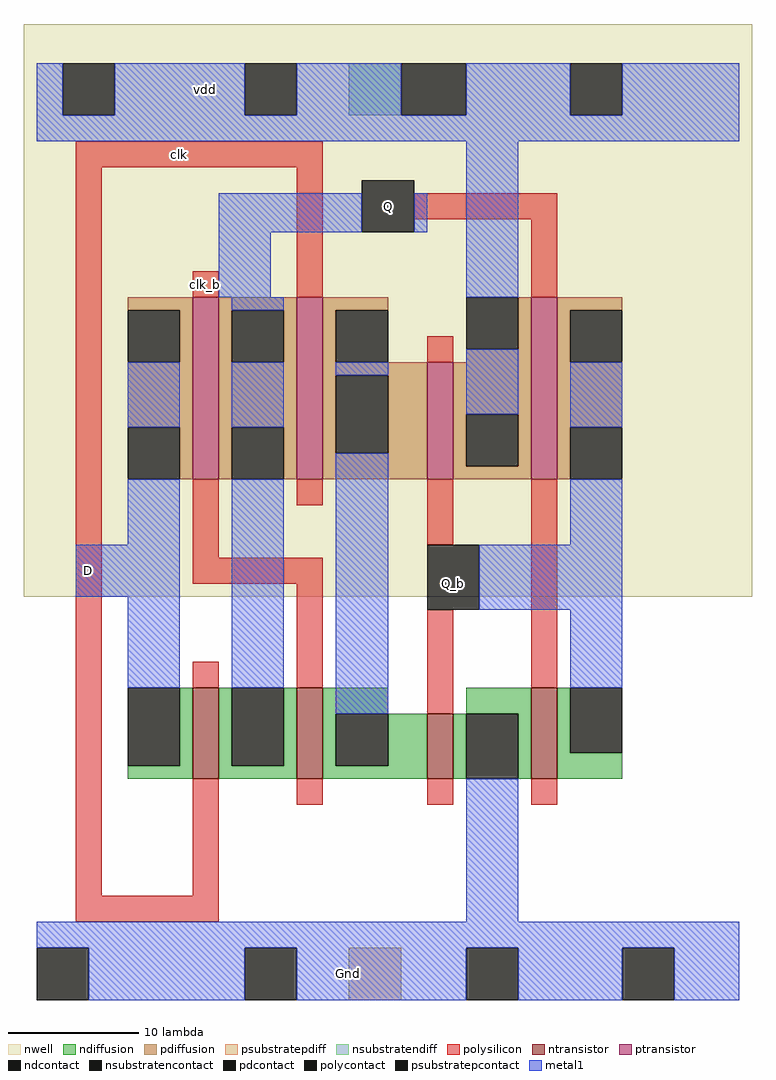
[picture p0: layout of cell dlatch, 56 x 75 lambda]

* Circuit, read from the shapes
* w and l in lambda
.subckt dlatch D Gnd Q Q_b clk clk_b vdd
M1 Q clk D Gnd nfet w=7 l=2
M2 n1 clk_b Q Gnd nfet w=7 l=2
M3 Gnd Q_b n1 Gnd nfet w=5 l=2
M4 Q_b Q Gnd Gnd nfet w=7 l=2
M5 Q clk_b D vdd pfet w=14 l=2
M6 n1 clk Q vdd pfet w=14 l=2
M7 vdd Q_b n1 vdd pfet w=9 l=2
M8 Q_b Q vdd vdd pfet w=14 l=2
.ends

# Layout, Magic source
magic
tech min2
<< nwell >>
rect 2 31 58 75
<< ntransistor >>
rect 15 17 17 24
rect 23 17 25 24
rect 33 17 35 22
rect 41 17 43 24
<< ptransistor >>
rect 15 40 17 54
rect 23 40 25 54
rect 33 40 35 49
rect 41 40 43 54
<< ndiffusion >>
rect 14 18 15 24
rect 10 17 15 18
rect 17 18 18 24
rect 22 18 23 24
rect 17 17 23 18
rect 25 22 30 24
rect 36 22 41 24
rect 25 18 26 22
rect 30 18 33 22
rect 25 17 33 18
rect 35 17 36 22
rect 40 17 41 22
rect 43 19 44 24
rect 43 17 48 19
<< pdiffusion >>
rect 10 53 15 54
rect 14 49 15 53
rect 10 44 15 49
rect 14 40 15 44
rect 17 53 23 54
rect 17 49 18 53
rect 22 49 23 53
rect 17 44 23 49
rect 17 40 18 44
rect 22 40 23 44
rect 25 53 30 54
rect 25 49 26 53
rect 40 50 41 54
rect 36 49 41 50
rect 25 48 33 49
rect 25 42 26 48
rect 30 42 33 48
rect 25 40 33 42
rect 35 45 41 49
rect 35 41 36 45
rect 40 41 41 45
rect 35 40 41 41
rect 43 53 48 54
rect 43 49 44 53
rect 43 44 48 49
rect 43 40 44 44
<< ndcontact >>
rect 10 18 14 24
rect 18 18 22 24
rect 26 18 30 22
rect 36 17 40 22
rect 44 19 48 24
<< pdcontact >>
rect 10 49 14 53
rect 10 40 14 44
rect 18 49 22 53
rect 18 40 22 44
rect 26 49 30 53
rect 36 50 40 54
rect 26 42 30 48
rect 36 41 40 45
rect 44 49 48 53
rect 44 40 48 44
<< psubstratepdiff >>
rect 27 0 31 4
<< nsubstratendiff >>
rect 27 68 31 72
<< psubstratepcontact >>
rect 3 0 7 4
rect 19 0 23 4
rect 36 0 40 4
rect 48 0 52 4
<< nsubstratencontact >>
rect 5 68 9 72
rect 19 68 23 72
rect 31 68 36 72
rect 44 68 48 72
<< polysilicon >>
rect 6 64 25 66
rect 6 8 8 64
rect 15 54 17 56
rect 23 54 25 64
rect 32 60 43 62
rect 41 54 43 60
rect 33 49 35 51
rect 15 34 17 40
rect 23 38 25 40
rect 33 35 35 40
rect 15 32 25 34
rect 15 24 17 26
rect 23 24 25 32
rect 33 22 35 30
rect 41 24 43 40
rect 15 8 17 17
rect 23 15 25 17
rect 33 15 35 17
rect 41 15 43 17
rect 6 6 17 8
<< polycontact >>
rect 28 59 32 63
rect 33 30 37 35
<< metal1 >>
rect 3 68 5 72
rect 9 68 19 72
rect 23 68 31 72
rect 36 68 44 72
rect 48 68 57 72
rect 3 66 57 68
rect 17 59 28 62
rect 32 59 33 62
rect 17 54 21 59
rect 36 54 40 66
rect 18 53 22 54
rect 10 44 14 49
rect 10 35 14 40
rect 6 31 14 35
rect 10 24 14 31
rect 18 44 22 49
rect 18 24 22 40
rect 26 48 30 49
rect 26 22 30 42
rect 36 45 40 50
rect 44 44 48 49
rect 44 35 48 40
rect 37 30 48 35
rect 44 24 48 30
rect 36 6 40 17
rect 3 4 57 6
rect 7 0 19 4
rect 23 0 36 4
rect 40 0 48 4
rect 52 0 57 4
<< labels >>
rlabel metal1 16 70 16 70 5 vdd
rlabel metal1 27 2 27 2 1 Gnd
rlabel polycontact 35 32 35 32 1 Q_b
rlabel polycontact 30 61 30 61 1 Q
rlabel polysilicon 16 55 16 55 1 clk_b
rlabel metal1 7 33 7 33 3 D
rlabel polysilicon 14 65 14 65 1 clk
<< end >>
